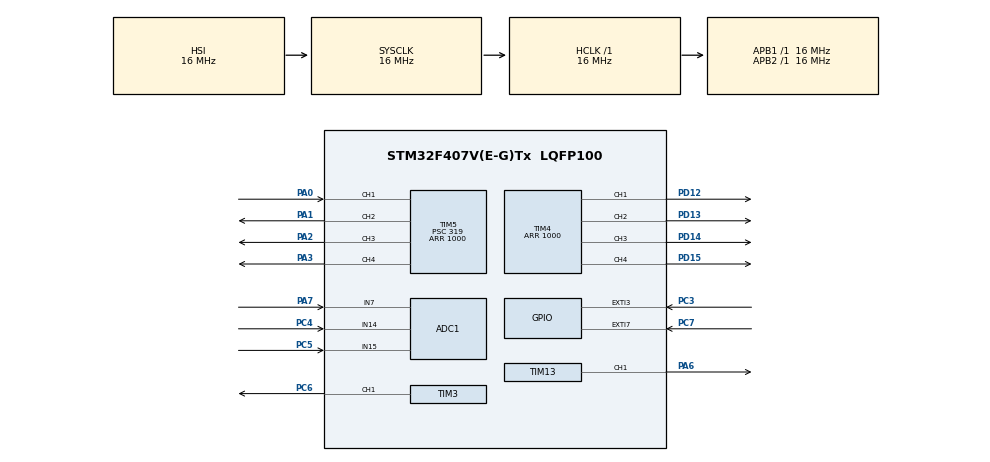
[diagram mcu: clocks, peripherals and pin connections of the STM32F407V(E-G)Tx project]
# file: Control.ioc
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ADC1.Channel-0\#ChannelRegularConversion=ADC_CHANNEL_7
ADC1.Channel-5\#ChannelRegularConversion=ADC_CHANNEL_14
ADC1.Channel-6\#ChannelRegularConversion=ADC_CHANNEL_15
ADC1.InjNumberOfConversion=0
ADC1.NbrOfConversion=3
ADC1.NbrOfConversionFlag=1
ADC1.Rank-0\#ChannelRegularConversion=1
ADC1.Rank-5\#ChannelRegularConversion=2
ADC1.Rank-6\#ChannelRegularConversion=3
ADC1.SamplingTime-0\#ChannelRegularConversion=ADC_SAMPLETIME_480CYCLES
ADC1.SamplingTime-5\#ChannelRegularConversion=ADC_SAMPLETIME_480CYCLES
ADC1.SamplingTime-6\#ChannelRegularConversion=ADC_SAMPLETIME_480CYCLES
ADC1.master=1
Dma.ADC1.0.Direction=DMA_PERIPH_TO_MEMORY
Dma.ADC1.0.FIFOMode=DMA_FIFOMODE_DISABLE
Dma.ADC1.0.Instance=DMA2_Stream0
Dma.ADC1.0.MemDataAlignment=DMA_MDATAALIGN_HALFWORD
Dma.ADC1.0.MemInc=DMA_MINC_ENABLE
Dma.ADC1.0.Mode=DMA_NORMAL
Dma.ADC1.0.PeriphDataAlignment=DMA_PDATAALIGN_HALFWORD
Dma.ADC1.0.PeriphInc=DMA_PINC_DISABLE
Dma.ADC1.0.Priority=DMA_PRIORITY_LOW
Dma.Request0=ADC1
Mcu.Family=STM32F4
Mcu.Name=STM32F407V(E-G)Tx
Mcu.Package=LQFP100
NVIC.ADC_IRQn=true\:0\:0\:false\:false\:true\:true\:true\:true
NVIC.DMA2_Stream0_IRQn=true\:0\:0\:false\:false\:true\:false\:true\:true
NVIC.PriorityGroup=NVIC_PRIORITYGROUP_4
NVIC.TIM5_IRQn=true\:0\:0\:false\:false\:true\:true\:true\:true
PA0-WKUP.Signal=S_TIM5_CH1
PA1.Signal=S_TIM5_CH2
PA13.Mode=Serial_Wire
PA13.Signal=SYS_JTMS-SWDIO
PA14.Mode=Serial_Wire
PA14.Signal=SYS_JTCK-SWCLK
PA2.Signal=S_TIM5_CH3
PA3.Signal=S_TIM5_CH4
PA6.Signal=S_TIM13_CH1
PA7.Signal=ADCx_IN7
PC3.GPIO_PuPd=GPIO_NOPULL
PC3.Signal=GPXTI3
PC4.Signal=ADCx_IN14
PC5.Signal=ADCx_IN15
PC6.Signal=S_TIM3_CH1
PC7.Signal=GPXTI7
PD12.Signal=S_TIM4_CH1
PD13.Signal=S_TIM4_CH2
PD14.Signal=S_TIM4_CH3
PD15.Signal=S_TIM4_CH4
ProjectManager.HeapSize=0x200
ProjectManager.StackSize=0x400
ProjectManager.TargetToolchain=STM32CubeIDE
RCC.AHBFreq_Value=16000000
RCC.APB1Freq_Value=16000000
RCC.APB2Freq_Value=16000000
RCC.CortexFreq_Value=16000000
RCC.HSE_VALUE=25000000
RCC.HSI_VALUE=16000000
RCC.LSE_VALUE=32768
RCC.SYSCLKFreq_VALUE=16000000
RCC.VCOOutputFreq_Value=192000000
SH.ADCx_IN14.0=ADC1_IN14,IN14
SH.ADCx_IN15.0=ADC1_IN15,IN15
SH.ADCx_IN7.0=ADC1_IN7,IN7
SH.S_TIM13_CH1.0=TIM13_CH1,PWM Generation1 CH1
SH.S_TIM3_CH1.0=TIM3_CH1,PWM Generation1 CH1
SH.S_TIM4_CH1.0=TIM4_CH1,PWM Generation1 CH1
SH.S_TIM4_CH2.0=TIM4_CH2,PWM Generation2 CH2
SH.S_TIM4_CH3.0=TIM4_CH3,PWM Generation3 CH3
SH.S_TIM4_CH4.0=TIM4_CH4,PWM Generation4 CH4
SH.S_TIM5_CH1.0=TIM5_CH1,Input_Capture1_from_TI1
SH.S_TIM5_CH2.0=TIM5_CH2,PWM Generation2 CH2
SH.S_TIM5_CH3.0=TIM5_CH3,PWM Generation3 CH3
SH.S_TIM5_CH4.0=TIM5_CH4,PWM Generation4 CH4
TIM13.Channel=TIM_CHANNEL_1
TIM13.Period=1000
TIM13.Prescaler=319
TIM3.Channel-PWM\ Generation1\ CH1=TIM_CHANNEL_1
TIM3.Period=1000
TIM4.Channel-PWM\ Generation1\ CH1=TIM_CHANNEL_1
TIM4.Channel-PWM\ Generation2\ CH2=TIM_CHANNEL_2
TIM4.Channel-PWM\ Generation3\ CH3=TIM_CHANNEL_3
TIM4.Channel-PWM\ Generation4\ CH4=TIM_CHANNEL_4
TIM4.Period=1000
TIM5.Channel-Input_Capture1_from_TI1=TIM_CHANNEL_1
TIM5.Channel-PWM\ Generation2\ CH2=TIM_CHANNEL_2
TIM5.Channel-PWM\ Generation3\ CH3=TIM_CHANNEL_3
TIM5.Channel-PWM\ Generation4\ CH4=TIM_CHANNEL_4
TIM5.Period=1000
TIM5.Prescaler=319
VP_TIM13_VS_ClockSourceINT.Mode=Enable_Timer
VP_TIM3_VS_ClockSourceINT.Mode=Internal
VP_TIM4_VS_ClockSourceINT.Mode=Internal
VP_TIM5_VS_ClockSourceINT.Mode=Internal
board=custom

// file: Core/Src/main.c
/* USER CODE BEGIN Header */
/**
  ******************************************************************************
  * @file           : main.c
  * @brief          : Main program body
  ******************************************************************************
  * @attention
  *
  * Copyright (c) 2024 STMicroelectronics.
  * All rights reserved.
  *
  * This software is licensed under terms that can be found in the LICENSE file
  * in the root directory of this software component.
  * If no LICENSE file comes with this software, it is provided AS-IS.
  *
  ******************************************************************************
  */
/* USER CODE END Header */
#include "main.h"

/* USER CODE BEGIN PD */
#define angle0 1180
#define angle90 1400

/* USER CODE END PD */

ADC_HandleTypeDef hadc1;
DMA_HandleTypeDef hdma_adc1;

TIM_HandleTypeDef htim3;
TIM_HandleTypeDef htim4;
TIM_HandleTypeDef htim5;
TIM_HandleTypeDef htim13;

void SystemClock_Config(void);
static void MX_GPIO_Init(void);
static void MX_DMA_Init(void);
static void MX_TIM5_Init(void);
static void MX_ADC1_Init(void);
static void MX_TIM3_Init(void);
static void MX_TIM4_Init(void);
static void MX_TIM13_Init(void);

/* USER CODE BEGIN 0 */
volatile uint16_t encoder_count = 0;
uint16_t ADC_value[3];

void Motor1(int pwm) {
	if(pwm > 0) {
		__HAL_TIM_SET_COMPARE(&htim3, TIM_CHANNEL_1, pwm);
		__HAL_TIM_SET_COMPARE(&htim3, TIM_CHANNEL_2, 0);
	}
	else if(pwm < 0){
		__HAL_TIM_SET_COMPARE(&htim3, TIM_CHANNEL_1, 0);
		__HAL_TIM_SET_COMPARE(&htim3, TIM_CHANNEL_2, -pwm);
	}
	else {
		__HAL_TIM_SET_COMPARE(&htim3, TIM_CHANNEL_1, 0);
		__HAL_TIM_SET_COMPARE(&htim3, TIM_CHANNEL_2, 0);
	}
}
void Motor2(int pwm) {
	if(pwm > 0) {
		__HAL_TIM_SET_COMPARE(&htim4, TIM_CHANNEL_1, pwm);
		__HAL_TIM_SET_COMPARE(&htim4, TIM_CHANNEL_2, 0);
	}
	else if(pwm < 0){
		__HAL_TIM_SET_COMPARE(&htim4, TIM_CHANNEL_1, 0);
		__HAL_TIM_SET_COMPARE(&htim4, TIM_CHANNEL_2, -pwm);
	}
	else {
		__HAL_TIM_SET_COMPARE(&htim4, TIM_CHANNEL_1, 0);
		__HAL_TIM_SET_COMPARE(&htim4, TIM_CHANNEL_2, 0);
	}
}
void Motor3(int pwm) {
	if(pwm > 0) {
		__HAL_TIM_SET_COMPARE(&htim4, TIM_CHANNEL_3, pwm);
		__HAL_TIM_SET_COMPARE(&htim4, TIM_CHANNEL_4, 0);
	}
	else if(pwm < 0){
		__HAL_TIM_SET_COMPARE(&htim4, TIM_CHANNEL_3, 0);
		__HAL_TIM_SET_COMPARE(&htim4, TIM_CHANNEL_4, -pwm);
	}
	else {
		__HAL_TIM_SET_COMPARE(&htim4, TIM_CHANNEL_3, 0);
		__HAL_TIM_SET_COMPARE(&htim4, TIM_CHANNEL_4, 0);
	}
}

void ESC1(uint16_t pwm, uint8_t angle) {
	uint16_t error = ADC_value[0] - angle;
	uint16_t angle_speed;
	if(abs(error) >= 40) {
		angle_speed = 0.25 * error;
	}
	else{
		angle_speed = 0;
	}
	Motor1(angle_speed);

}
void Servo(int angle) {
	TIM13->CCR1 = angle;
}

void HAL_GPIO_EXTI_Callback(uint16_t GPIO_Pin) {
	if(GPIO_Pin == GPIO_PIN_7) {
        if (HAL_GPIO_ReadPin(GPIOC, GPIO_Pin) == GPIO_PIN_SET) { // Sư�?n lên của kênh A
            encoder_count++;
        }
	}
    if(encoder_count >= INT16_MAX - 1000) {
    	encoder_count = 0;
    }
}
//void Angle1()

/* USER CODE END 0 */

int main(void)
{

  /* MCU Configuration--------------------------------------------------------*/

  /* Reset of all peripherals, Initializes the Flash interface and the Systick. */
  HAL_Init();

  /* Configure the system clock */
  SystemClock_Config();

  /* Initialize all configured peripherals */
  MX_GPIO_Init();
  MX_DMA_Init();
  MX_TIM5_Init();
  MX_ADC1_Init();
  MX_TIM3_Init();
  MX_TIM4_Init();
  MX_TIM13_Init();
  /* USER CODE BEGIN 2 */
  HAL_TIM_PWM_Start(&htim3, TIM_CHANNEL_1);
  HAL_TIM_PWM_Start(&htim3, TIM_CHANNEL_2);
  HAL_TIM_PWM_Start(&htim4, TIM_CHANNEL_1);
  HAL_TIM_PWM_Start(&htim4, TIM_CHANNEL_2);
  HAL_TIM_PWM_Start(&htim4, TIM_CHANNEL_3);
  HAL_TIM_PWM_Start(&htim4, TIM_CHANNEL_4);
  //HAL_TIM_PWM_Start(&htim4, TIM_CHANNEL_1);

  //Dieu khien ESC

  HAL_TIM_PWM_Start(&htim5, TIM_CHANNEL_2);
  HAL_TIM_PWM_Start(&htim5, TIM_CHANNEL_3);
  HAL_TIM_PWM_Start(&htim5, TIM_CHANNEL_4);

  //Servo

  HAL_TIM_PWM_Start(&htim13, TIM_CHANNEL_1);

  //Doc encoder

  HAL_GPIO_EXTI_Callback(GPIO_PIN_7);
  HAL_Delay(2000);
  TIM5->CCR2 = 75;
  TIM5->CCR3 = 75;
  TIM5->CCR4 = 75;
  TIM13->CCR1 = 75;
  HAL_Delay(1000);
  TIM5->CCR2 = 0;
  TIM5->CCR3 = 0;
  TIM5->CCR4 = 0;
  TIM13->CCR1 = 0;
  /* USER CODE END 2 */

  /* Infinite loop */
  /* USER CODE BEGIN WHILE */
  //struct Motor Motor1(&htim3, TIM_CHANNEL_1, &htim3, TIM_CHANNEL_2);
  while (1)
  {
	  Servo(75);
	  HAL_ADC_Start_DMA(&hadc1, (uint32_t*)ADC_value, 3);
	  HAL_Delay(1000);
	  //Servo(100);
	  //HAL_Delay(1000);
	  //ESC1(78, 900);
	  //Motor1(200);
//	  TIM5->CCR2 = 80;
//	  TIM5->CCR3 = 80;
//	  TIM5->CCR4 = 100;

    /* USER CODE END WHILE */

  }
}

void SystemClock_Config(void)
{
  RCC_OscInitTypeDef RCC_OscInitStruct = {0};
  RCC_ClkInitTypeDef RCC_ClkInitStruct = {0};

  /** Configure the main internal regulator output voltage
  */
  __HAL_RCC_PWR_CLK_ENABLE();
  __HAL_PWR_VOLTAGESCALING_CONFIG(PWR_REGULATOR_VOLTAGE_SCALE1);

  /** Initializes the RCC Oscillators according to the specified parameters
  * in the RCC_OscInitTypeDef structure.
  */
  RCC_OscInitStruct.OscillatorType = RCC_OSCILLATORTYPE_HSI;
  RCC_OscInitStruct.HSIState = RCC_HSI_ON;
  RCC_OscInitStruct.HSICalibrationValue = RCC_HSICALIBRATION_DEFAULT;
  RCC_OscInitStruct.PLL.PLLState = RCC_PLL_NONE;
  if (HAL_RCC_OscConfig(&RCC_OscInitStruct) != HAL_OK)
  {
    Error_Handler();
  }

  /** Initializes the CPU, AHB and APB buses clocks
  */
  RCC_ClkInitStruct.ClockType = RCC_CLOCKTYPE_HCLK|RCC_CLOCKTYPE_SYSCLK
                              |RCC_CLOCKTYPE_PCLK1|RCC_CLOCKTYPE_PCLK2;
  RCC_ClkInitStruct.SYSCLKSource = RCC_SYSCLKSOURCE_HSI;
  RCC_ClkInitStruct.AHBCLKDivider = RCC_SYSCLK_DIV1;
  RCC_ClkInitStruct.APB1CLKDivider = RCC_HCLK_DIV1;
  RCC_ClkInitStruct.APB2CLKDivider = RCC_HCLK_DIV1;

  if (HAL_RCC_ClockConfig(&RCC_ClkInitStruct, FLASH_LATENCY_0) != HAL_OK)
  {
    Error_Handler();
  }
}

static void MX_ADC1_Init(void)
{

  ADC_ChannelConfTypeDef sConfig = {0};

  /** Configure the global features of the ADC (Clock, Resolution, Data Alignment and number of conversion)
  */
  hadc1.Instance = ADC1;
  hadc1.Init.ClockPrescaler = ADC_CLOCK_SYNC_PCLK_DIV2;
  hadc1.Init.Resolution = ADC_RESOLUTION_12B;
  hadc1.Init.ScanConvMode = ENABLE;
  hadc1.Init.ContinuousConvMode = DISABLE;
  hadc1.Init.DiscontinuousConvMode = DISABLE;
  hadc1.Init.ExternalTrigConvEdge = ADC_EXTERNALTRIGCONVEDGE_NONE;
  hadc1.Init.ExternalTrigConv = ADC_SOFTWARE_START;
  hadc1.Init.DataAlign = ADC_DATAALIGN_RIGHT;
  hadc1.Init.NbrOfConversion = 3;
  hadc1.Init.DMAContinuousRequests = DISABLE;
  hadc1.Init.EOCSelection = ADC_EOC_SINGLE_CONV;
  if (HAL_ADC_Init(&hadc1) != HAL_OK)
  {
    Error_Handler();
  }

  /** Configure for the selected ADC regular channel its corresponding rank in the sequencer and its sample time.
  */
  sConfig.Channel = ADC_CHANNEL_7;
  sConfig.Rank = 1;
  sConfig.SamplingTime = ADC_SAMPLETIME_480CYCLES;
  if (HAL_ADC_ConfigChannel(&hadc1, &sConfig) != HAL_OK)
  {
    Error_Handler();
  }

  /** Configure for the selected ADC regular channel its corresponding rank in the sequencer and its sample time.
  */
  sConfig.Channel = ADC_CHANNEL_14;
  sConfig.Rank = 2;
  if (HAL_ADC_ConfigChannel(&hadc1, &sConfig) != HAL_OK)
  {
    Error_Handler();
  }

  /** Configure for the selected ADC regular channel its corresponding rank in the sequencer and its sample time.
  */
  sConfig.Channel = ADC_CHANNEL_15;
  sConfig.Rank = 3;
  if (HAL_ADC_ConfigChannel(&hadc1, &sConfig) != HAL_OK)
  {
    Error_Handler();
  }

}

static void MX_TIM3_Init(void)
{

  TIM_ClockConfigTypeDef sClockSourceConfig = {0};
  TIM_MasterConfigTypeDef sMasterConfig = {0};
  TIM_OC_InitTypeDef sConfigOC = {0};

  htim3.Instance = TIM3;
  htim3.Init.Prescaler = 0;
  htim3.Init.CounterMode = TIM_COUNTERMODE_UP;
  htim3.Init.Period = 1000;
  htim3.Init.ClockDivision = TIM_CLOCKDIVISION_DIV1;
  htim3.Init.AutoReloadPreload = TIM_AUTORELOAD_PRELOAD_DISABLE;
  if (HAL_TIM_Base_Init(&htim3) != HAL_OK)
  {
    Error_Handler();
  }
  sClockSourceConfig.ClockSource = TIM_CLOCKSOURCE_INTERNAL;
  if (HAL_TIM_ConfigClockSource(&htim3, &sClockSourceConfig) != HAL_OK)
  {
    Error_Handler();
  }
  if (HAL_TIM_PWM_Init(&htim3) != HAL_OK)
  {
    Error_Handler();
  }
  sMasterConfig.MasterOutputTrigger = TIM_TRGO_RESET;
  sMasterConfig.MasterSlaveMode = TIM_MASTERSLAVEMODE_DISABLE;
  if (HAL_TIMEx_MasterConfigSynchronization(&htim3, &sMasterConfig) != HAL_OK)
  {
    Error_Handler();
  }
  sConfigOC.OCMode = TIM_OCMODE_PWM1;
  sConfigOC.Pulse = 0;
  sConfigOC.OCPolarity = TIM_OCPOLARITY_HIGH;
  sConfigOC.OCFastMode = TIM_OCFAST_DISABLE;
  if (HAL_TIM_PWM_ConfigChannel(&htim3, &sConfigOC, TIM_CHANNEL_1) != HAL_OK)
  {
    Error_Handler();
  }
  HAL_TIM_MspPostInit(&htim3);

}

static void MX_TIM4_Init(void)
{

  TIM_ClockConfigTypeDef sClockSourceConfig = {0};
  TIM_MasterConfigTypeDef sMasterConfig = {0};
  TIM_OC_InitTypeDef sConfigOC = {0};

  htim4.Instance = TIM4;
  htim4.Init.Prescaler = 0;
  htim4.Init.CounterMode = TIM_COUNTERMODE_UP;
  htim4.Init.Period = 1000;
  htim4.Init.ClockDivision = TIM_CLOCKDIVISION_DIV1;
  htim4.Init.AutoReloadPreload = TIM_AUTORELOAD_PRELOAD_DISABLE;
  if (HAL_TIM_Base_Init(&htim4) != HAL_OK)
  {
    Error_Handler();
  }
  sClockSourceConfig.ClockSource = TIM_CLOCKSOURCE_INTERNAL;
  if (HAL_TIM_ConfigClockSource(&htim4, &sClockSourceConfig) != HAL_OK)
  {
    Error_Handler();
  }
  if (HAL_TIM_PWM_Init(&htim4) != HAL_OK)
  {
    Error_Handler();
  }
  sMasterConfig.MasterOutputTrigger = TIM_TRGO_RESET;
  sMasterConfig.MasterSlaveMode = TIM_MASTERSLAVEMODE_DISABLE;
  if (HAL_TIMEx_MasterConfigSynchronization(&htim4, &sMasterConfig) != HAL_OK)
  {
    Error_Handler();
  }
  sConfigOC.OCMode = TIM_OCMODE_PWM1;
  sConfigOC.Pulse = 0;
  sConfigOC.OCPolarity = TIM_OCPOLARITY_HIGH;
  sConfigOC.OCFastMode = TIM_OCFAST_DISABLE;
  if (HAL_TIM_PWM_ConfigChannel(&htim4, &sConfigOC, TIM_CHANNEL_1) != HAL_OK)
  {
    Error_Handler();
  }
  if (HAL_TIM_PWM_ConfigChannel(&htim4, &sConfigOC, TIM_CHANNEL_2) != HAL_OK)
  {
    Error_Handler();
  }
  if (HAL_TIM_PWM_ConfigChannel(&htim4, &sConfigOC, TIM_CHANNEL_3) != HAL_OK)
  {
    Error_Handler();
  }
  if (HAL_TIM_PWM_ConfigChannel(&htim4, &sConfigOC, TIM_CHANNEL_4) != HAL_OK)
  {
    Error_Handler();
  }
  HAL_TIM_MspPostInit(&htim4);

}

static void MX_TIM5_Init(void)
{

  TIM_ClockConfigTypeDef sClockSourceConfig = {0};
  TIM_MasterConfigTypeDef sMasterConfig = {0};
  TIM_IC_InitTypeDef sConfigIC = {0};
  TIM_OC_InitTypeDef sConfigOC = {0};

  htim5.Instance = TIM5;
  htim5.Init.Prescaler = 319;
  htim5.Init.CounterMode = TIM_COUNTERMODE_UP;
  htim5.Init.Period = 1000;
  htim5.Init.ClockDivision = TIM_CLOCKDIVISION_DIV1;
  htim5.Init.AutoReloadPreload = TIM_AUTORELOAD_PRELOAD_DISABLE;
  if (HAL_TIM_Base_Init(&htim5) != HAL_OK)
  {
    Error_Handler();
  }
  sClockSourceConfig.ClockSource = TIM_CLOCKSOURCE_INTERNAL;
  if (HAL_TIM_ConfigClockSource(&htim5, &sClockSourceConfig) != HAL_OK)
  {
    Error_Handler();
  }
  if (HAL_TIM_IC_Init(&htim5) != HAL_OK)
  {
    Error_Handler();
  }
  if (HAL_TIM_PWM_Init(&htim5) != HAL_OK)
  {
    Error_Handler();
  }
  sMasterConfig.MasterOutputTrigger = TIM_TRGO_RESET;
  sMasterConfig.MasterSlaveMode = TIM_MASTERSLAVEMODE_DISABLE;
  if (HAL_TIMEx_MasterConfigSynchronization(&htim5, &sMasterConfig) != HAL_OK)
  {
    Error_Handler();
  }
  sConfigIC.ICPolarity = TIM_INPUTCHANNELPOLARITY_RISING;
  sConfigIC.ICSelection = TIM_ICSELECTION_DIRECTTI;
  sConfigIC.ICPrescaler = TIM_ICPSC_DIV1;
  sConfigIC.ICFilter = 0;
  if (HAL_TIM_IC_ConfigChannel(&htim5, &sConfigIC, TIM_CHANNEL_1) != HAL_OK)
  {
    Error_Handler();
  }
  sConfigOC.OCMode = TIM_OCMODE_PWM1;
  sConfigOC.Pulse = 0;
  sConfigOC.OCPolarity = TIM_OCPOLARITY_HIGH;
  sConfigOC.OCFastMode = TIM_OCFAST_DISABLE;
  if (HAL_TIM_PWM_ConfigChannel(&htim5, &sConfigOC, TIM_CHANNEL_2) != HAL_OK)
  {
    Error_Handler();
  }
  if (HAL_TIM_PWM_ConfigChannel(&htim5, &sConfigOC, TIM_CHANNEL_3) != HAL_OK)
  {
    Error_Handler();
  }
  if (HAL_TIM_PWM_ConfigChannel(&htim5, &sConfigOC, TIM_CHANNEL_4) != HAL_OK)
  {
    Error_Handler();
  }
  HAL_TIM_MspPostInit(&htim5);

}

static void MX_TIM13_Init(void)
{

  TIM_OC_InitTypeDef sConfigOC = {0};

  htim13.Instance = TIM13;
  htim13.Init.Prescaler = 319;
  htim13.Init.CounterMode = TIM_COUNTERMODE_UP;
  htim13.Init.Period = 1000;
  htim13.Init.ClockDivision = TIM_CLOCKDIVISION_DIV1;
  htim13.Init.AutoReloadPreload = TIM_AUTORELOAD_PRELOAD_DISABLE;
  if (HAL_TIM_Base_Init(&htim13) != HAL_OK)
  {
    Error_Handler();
  }
  if (HAL_TIM_PWM_Init(&htim13) != HAL_OK)
  {
    Error_Handler();
  }
  sConfigOC.OCMode = TIM_OCMODE_PWM1;
  sConfigOC.Pulse = 0;
  sConfigOC.OCPolarity = TIM_OCPOLARITY_HIGH;
  sConfigOC.OCFastMode = TIM_OCFAST_DISABLE;
  if (HAL_TIM_PWM_ConfigChannel(&htim13, &sConfigOC, TIM_CHANNEL_1) != HAL_OK)
  {
    Error_Handler();
  }
  HAL_TIM_MspPostInit(&htim13);

}

static void MX_DMA_Init(void)
{

  /* DMA controller clock enable */
  __HAL_RCC_DMA2_CLK_ENABLE();

  /* DMA interrupt init */
  /* DMA2_Stream0_IRQn interrupt configuration */
  HAL_NVIC_SetPriority(DMA2_Stream0_IRQn, 0, 0);
  HAL_NVIC_EnableIRQ(DMA2_Stream0_IRQn);

}

static void MX_GPIO_Init(void)
{
  GPIO_InitTypeDef GPIO_InitStruct = {0};

  /* GPIO Ports Clock Enable */
  __HAL_RCC_GPIOC_CLK_ENABLE();
  __HAL_RCC_GPIOA_CLK_ENABLE();
  __HAL_RCC_GPIOD_CLK_ENABLE();

  /*Configure GPIO pins : PC3 PC7 */
  GPIO_InitStruct.Pin = GPIO_PIN_3|GPIO_PIN_7;
  GPIO_InitStruct.Mode = GPIO_MODE_IT_RISING;
  GPIO_InitStruct.Pull = GPIO_NOPULL;
  HAL_GPIO_Init(GPIOC, &GPIO_InitStruct);

}

void Error_Handler(void)
{
  __disable_irq();
  while (1)
  {
  }
}
